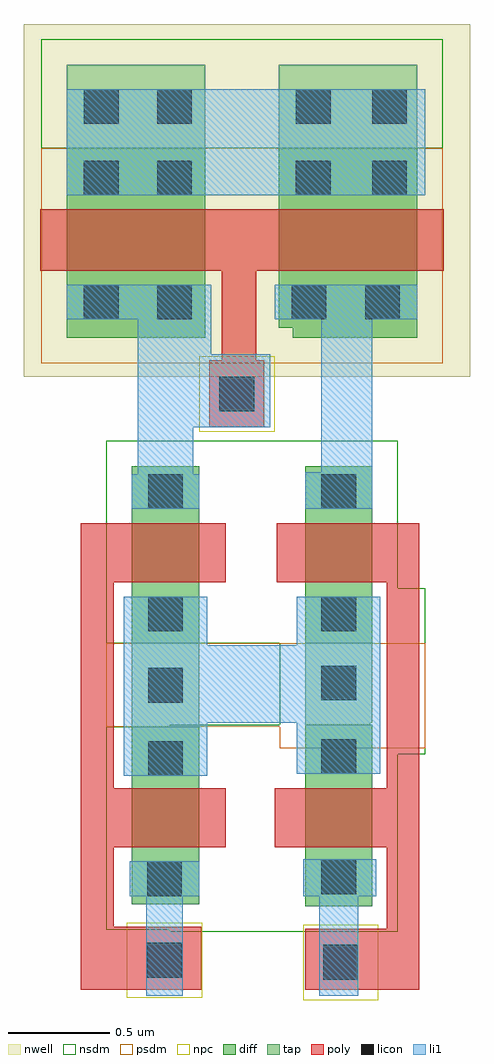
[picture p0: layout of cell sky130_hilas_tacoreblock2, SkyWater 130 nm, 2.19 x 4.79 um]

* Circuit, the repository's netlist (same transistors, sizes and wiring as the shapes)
* Copyright 2020 The Hilas PDK Authors
* 
* This file is part of HILAS.
* 
* HILAS is free software: you can redistribute it and/or modify
* it under the terms of the GNU Lesser General Public License as published by
* the Free Software Foundation, version 3 of the License.
* 
* HILAS is distributed in the hope that it will be useful,
* but WITHOUT ANY WARRANTY; without even the implied warranty of
* MERCHANTABILITY or FITNESS FOR A PARTICULAR PURPOSE.  See the
* GNU Lesser General Public License for more details.
* 
* You should have received a copy of the GNU Lesser General Public License
* along with HILAS.  If not, see <https://www.gnu.org/licenses/>.
* 
* Licensed under the Lesser General Public License, Version 3.0 (the "License");
* you may not use this file except in compliance with the License.
* You may obtain a copy of the License at
* 
* https://www.gnu.org/licenses/lgpl-3.0.en.html
* 
* Unless required by applicable law or agreed to in writing, software
* distributed under the License is distributed on an "AS IS" BASIS,
* WITHOUT WARRANTIES OR CONDITIONS OF ANY KIND, either express or implied.
* See the License for the specific language governing permissions and
* limitations under the License.
* 
* SPDX-License-Identifier: LGPL-3.0
* 
* 

* NGSPICE file created from sky130_hilas_TACoreBlock2.ext - technology: sky130A


* Top level circuit sky130_hilas_TACoreBlock2

X0 w_n122_224# a_n106_328# a_n106_328# w_n122_224# sky130_fd_pr__pfet_01v8 w=680000u l=300000u
X1 a_n16_n180# a_n66_n378# a_n66_n378# a_n16_n180# sky130_fd_pr__nfet_01v8 w=330000u l=290000u
X2 a_n106_328# a_n66_n378# a_n16_n180# a_n16_n180# sky130_fd_pr__nfet_01v8 w=330000u l=290000u
X3 a_128_272# a_124_n238# a_n16_n180# a_n16_n180# sky130_fd_pr__nfet_01v8 w=330000u l=290000u
X4 w_n122_224# a_n106_328# a_128_272# w_n122_224# sky130_fd_pr__pfet_01v8 w=680000u l=300000u
X5 a_n16_n180# a_124_n238# a_124_n238# a_n16_n180# sky130_fd_pr__nfet_01v8 w=330000u l=290000u
.end

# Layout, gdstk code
import gdstk
lib = gdstk.Library(unit=1e-6, precision=1e-09)
def R(c, l, rs):  # rectangles x0, y0, x1, y1
    for r in rs: c.add(gdstk.rectangle(r[:2], r[2:], *l))
nwell = (64, 20)
diff = (65, 20)
tap = (65, 44)
poly = (66, 20)
licon = (66, 44)
li1 = (67, 20)
nsdm = (93, 44)
psdm = (94, 20)
npc = (95, 20)

sky130_hilas_tacoreblock = lib.new_cell('sky130_hilas_tacoreblock2')
R(sky130_hilas_tacoreblock, nwell, [(-0.61,1.12,1.58,2.85)])
R(sky130_hilas_tacoreblock, diff, [(0.77,-1.48,1.1,-0.59), (-0.08,-1.47,0.25,-0.6), (-0.08,-0.19,0.25,0.68), (0.77,-0.19,1.1,0.68), (-0.4,1.31,0.28,2.24), (0.71,1.31,1.32,1.36), (0.64,1.36,1.32,2.24)])
R(sky130_hilas_tacoreblock, tap, [(-0.08,-0.6,0.25,-0.19), (0.77,-0.59,1.09,-0.58), (0.77,-0.58,1.1,-0.19), (-0.4,2.24,0.28,2.65), (0.64,2.24,1.32,2.65)])
R(sky130_hilas_tacoreblock, poly, [(-0.33,-1.89,0.26,-1.58), (0.77,-1.89,1.33,-1.59), (1.17,-1.59,1.33,-1.19), (-0.33,-1.58,-0.17,-1.19), (-0.33,-1.19,0.38,-0.9), (0.62,-1.19,1.33,-0.9), (-0.33,-0.9,-0.17,0.11), (1.17,-0.9,1.33,0.11), (-0.33,0.11,0.38,0.4), (0.63,0.11,1.33,0.4), (0.3,0.87,0.57,1.2), (0.36,1.2,0.53,1.64), (-0.53,1.64,1.45,1.94)])
R(sky130_hilas_tacoreblock, licon, [(0.86,-1.84,1.03,-1.67), (-0.005,-1.83,0.165,-1.66), (-0.005,-1.43,0.165,-1.26), (0.85,-1.42,1.02,-1.25), (0,-0.84,0.17,-0.67), (0.85,-0.83,1.02,-0.66), (0,-0.48,0.17,-0.31), (0.85,-0.47,1.02,-0.3), (0,-0.13,0.17,0.04), (0.85,-0.13,1.02,0.04), (0,0.47,0.17,0.64), (0.85,0.47,1.02,0.64), (0.35,0.95,0.52,1.12), (-0.315,1.4,-0.145,1.57), (0.045,1.4,0.215,1.57), (0.705,1.4,0.875,1.57), (1.065,1.4,1.235,1.57), (-0.315,2.01,-0.145,2.18), (0.045,2.01,0.215,2.18), (0.725,2.01,0.895,2.18), (1.1,2.01,1.27,2.18), (-0.315,2.36,-0.145,2.53), (0.045,2.36,0.215,2.53), (0.725,2.36,0.895,2.53), (1.1,2.36,1.27,2.53)])
R(sky130_hilas_tacoreblock, li1, [(-0.01,-1.92,0.17,-1.43), (0.84,-1.92,1.03,-1.43), (-0.09,-1.43,0.25,-1.26), (0.76,-1.43,1.12,-1.25), (-0.12,-0.84,0.29,-0.58), (0.73,-0.83,1.14,-0.58), (-0.12,-0.58,1.14,-0.2), (-0.12,-0.2,0.29,0.04), (0.73,-0.2,1.14,0.04), (-0.08,0.47,0.25,0.64), (0.77,0.47,1.1,0.65), (-0.05,0.64,0.22,0.87), (0.85,0.65,1.1,1.4), (-0.05,0.87,0.6,1.23), (-0.05,1.23,0.31,1.4), (-0.4,1.4,0.31,1.57), (0.62,1.4,1.32,1.57), (-0.4,2.01,1.36,2.53)])
R(sky130_hilas_tacoreblock, nsdm, [(0.105,-1.605,1.225,-1.595), (-0.205,-1.595,1.225,-0.735), (-0.205,-0.735,1.36,-0.6), (0.105,-0.6,1.36,-0.59), (0.645,-0.59,1.36,-0.19), (-0.205,-0.19,1.36,0.08), (-0.205,0.08,1.225,0.805), (-0.525,2.24,1.445,2.775)])
R(sky130_hilas_tacoreblock, psdm, [(0.645,-0.705,1.36,-0.6), (-0.205,-0.6,1.36,-0.19), (-0.525,1.185,1.445,2.24)])
R(sky130_hilas_tacoreblock, npc, [(0.76,-1.94,1.13,-1.57), (-0.105,-1.93,0.265,-1.56), (0.25,0.85,0.62,1.22)])

lib.write_gds('sky130_hilas_tacoreblock2.gds')
